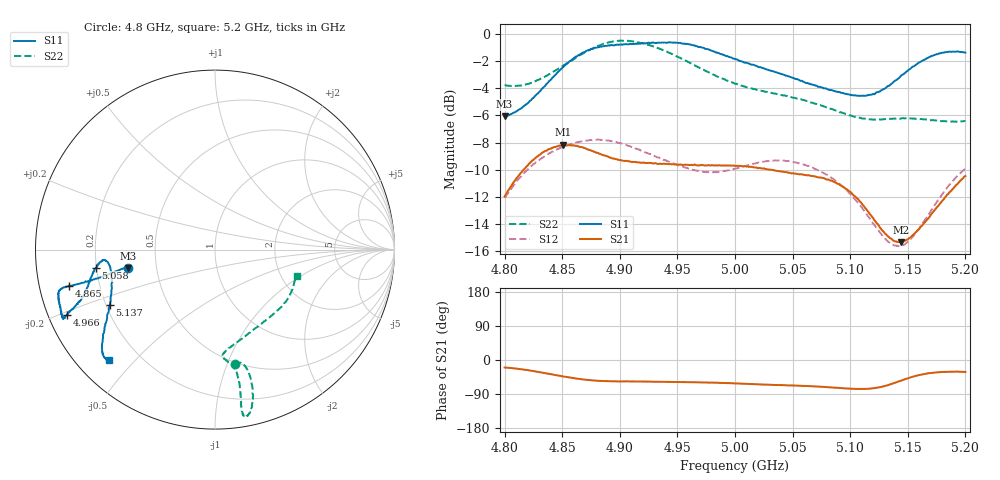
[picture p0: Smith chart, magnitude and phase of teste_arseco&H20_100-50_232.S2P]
! Network Analyzer HP8722D
! Hewlett-Packard
! Data name: Linha & Wilkinson
! Saver's name: Rodrigo Anjos
! Comments: Teste da utilização de aquisição
! continua pelo VNA HP8722D
! Time and date: 6/5/2025 14:30
!  Frequency  S11  S21  S12  S22
# HZ  S  MA R 50
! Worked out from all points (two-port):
!   401 points, 4.8 GHz to 5.2 GHz, reference 50 ohm
!   highest |S21| = -8.16 dB at 4.851 GHz (marker M1); lowest = -15.3 dB at 5.144 GHz (marker M2)
!   |S21| within 3 dB of the highest: 4.806 GHz to 5.092 GHz (286 MHz wide, 5.78 % of centre); 5.191588 GHz to end of sweep
!   lowest |S11| = -6.1 dB at 4.8 GHz (marker M3), VSWR 2.98, Z = 17 - j4.58 ohm
!   |S11| at or under -10 dB: nowhere
!   |S22| runs from -6.5 to -0.5 dB; largest |S21 - S12| = 0.62
!   S11 on the Smith chart (normalised r, x): 4.8 GHz: 0.34, -0.09; 4.865 GHz: 0.09, -0.12; 4.966 GHz: 0.05, -0.21; 5.058 GHz: 0.20, -0.07; 5.137 GHz: 0.22, -0.24; 5.2 GHz: 0.09, -0.42
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4.8e9  0.4972 -168.2  0.2522 -19.8  0.2492 -140.9  0.6481 -80.2
4.823e9  0.5707 -167.5  0.3386 -28.2  0.3253 -143.9  0.6603 -76.0
4.851e9  0.757 -165.9  0.391 -43.6  0.3843 -149.4  0.7656 -74.6
4.865e9  0.8392 -166.1  0.3842 -49.9  0.4008 -151.8  0.8331 -75.3
4.867e9  0.8494 -166.0  0.3839 -50.9  0.4028 -152.1  0.8423 -75.4
4.88e9  0.8895 -165.5  0.3656 -54.6  0.4082 -154.2  0.8996 -76.7
4.9e9  0.914 -162.7  0.3433 -56.5  0.3965 -156.6  0.9429 -79.2
4.934e9  0.9288 -156.5  0.3324 -57.5  0.3512 -155.8  0.8831 -80.5
4.966e9  0.9026 -156.2  0.3291 -58.8  0.3143 -148.3  0.7619 -79.7
5e9  0.8088 -159.0  0.3272 -61.9  0.3193 -137.3  0.6555 -81.2
5.032e9  0.7299 -164.7  0.3162 -65.5  0.3416 -134.3  0.6067 -85.4
5.058e9  0.6729 -171.3  0.3043 -68.2  0.332 -136.1  0.5736 -84.6
5.067e9  0.6517 -173.0  0.3002 -69.2  0.323 -136.8  0.5582 -82.7
5.083e9  0.6217 -174.6  0.2885 -72.3  0.2969 -138.4  0.5302 -76.8
5.101e9  0.5958 -172.1  0.2603 -75.8  0.2551 -138.8  0.5 -66.6
5.116e9  0.5955 -165.6  0.2208 -76.0  0.2121 -135.5  0.4846 -55.9
5.134e9  0.6452 -154.3  0.1781 -65.2  0.1708 -120.7  0.4868 -43.3
5.137e9  0.6612 -152.3  0.1741 -62.2  0.1675 -116.8  0.4875 -41.5
5.144e9  0.701 -148.8  0.1714 -54.5  0.1659 -107.4  0.4882 -37.4
5.154e9  0.7569 -144.5  0.1812 -44.3  0.179 -94.9  0.4886 -32.3
5.173e9  0.8358 -139.0  0.2242 -33.4  0.2333 -80.9  0.481 -24.2
5.2e9  0.8532 -133.7  0.3 -31.4  0.3195 -76.9  0.4782 -17.6
